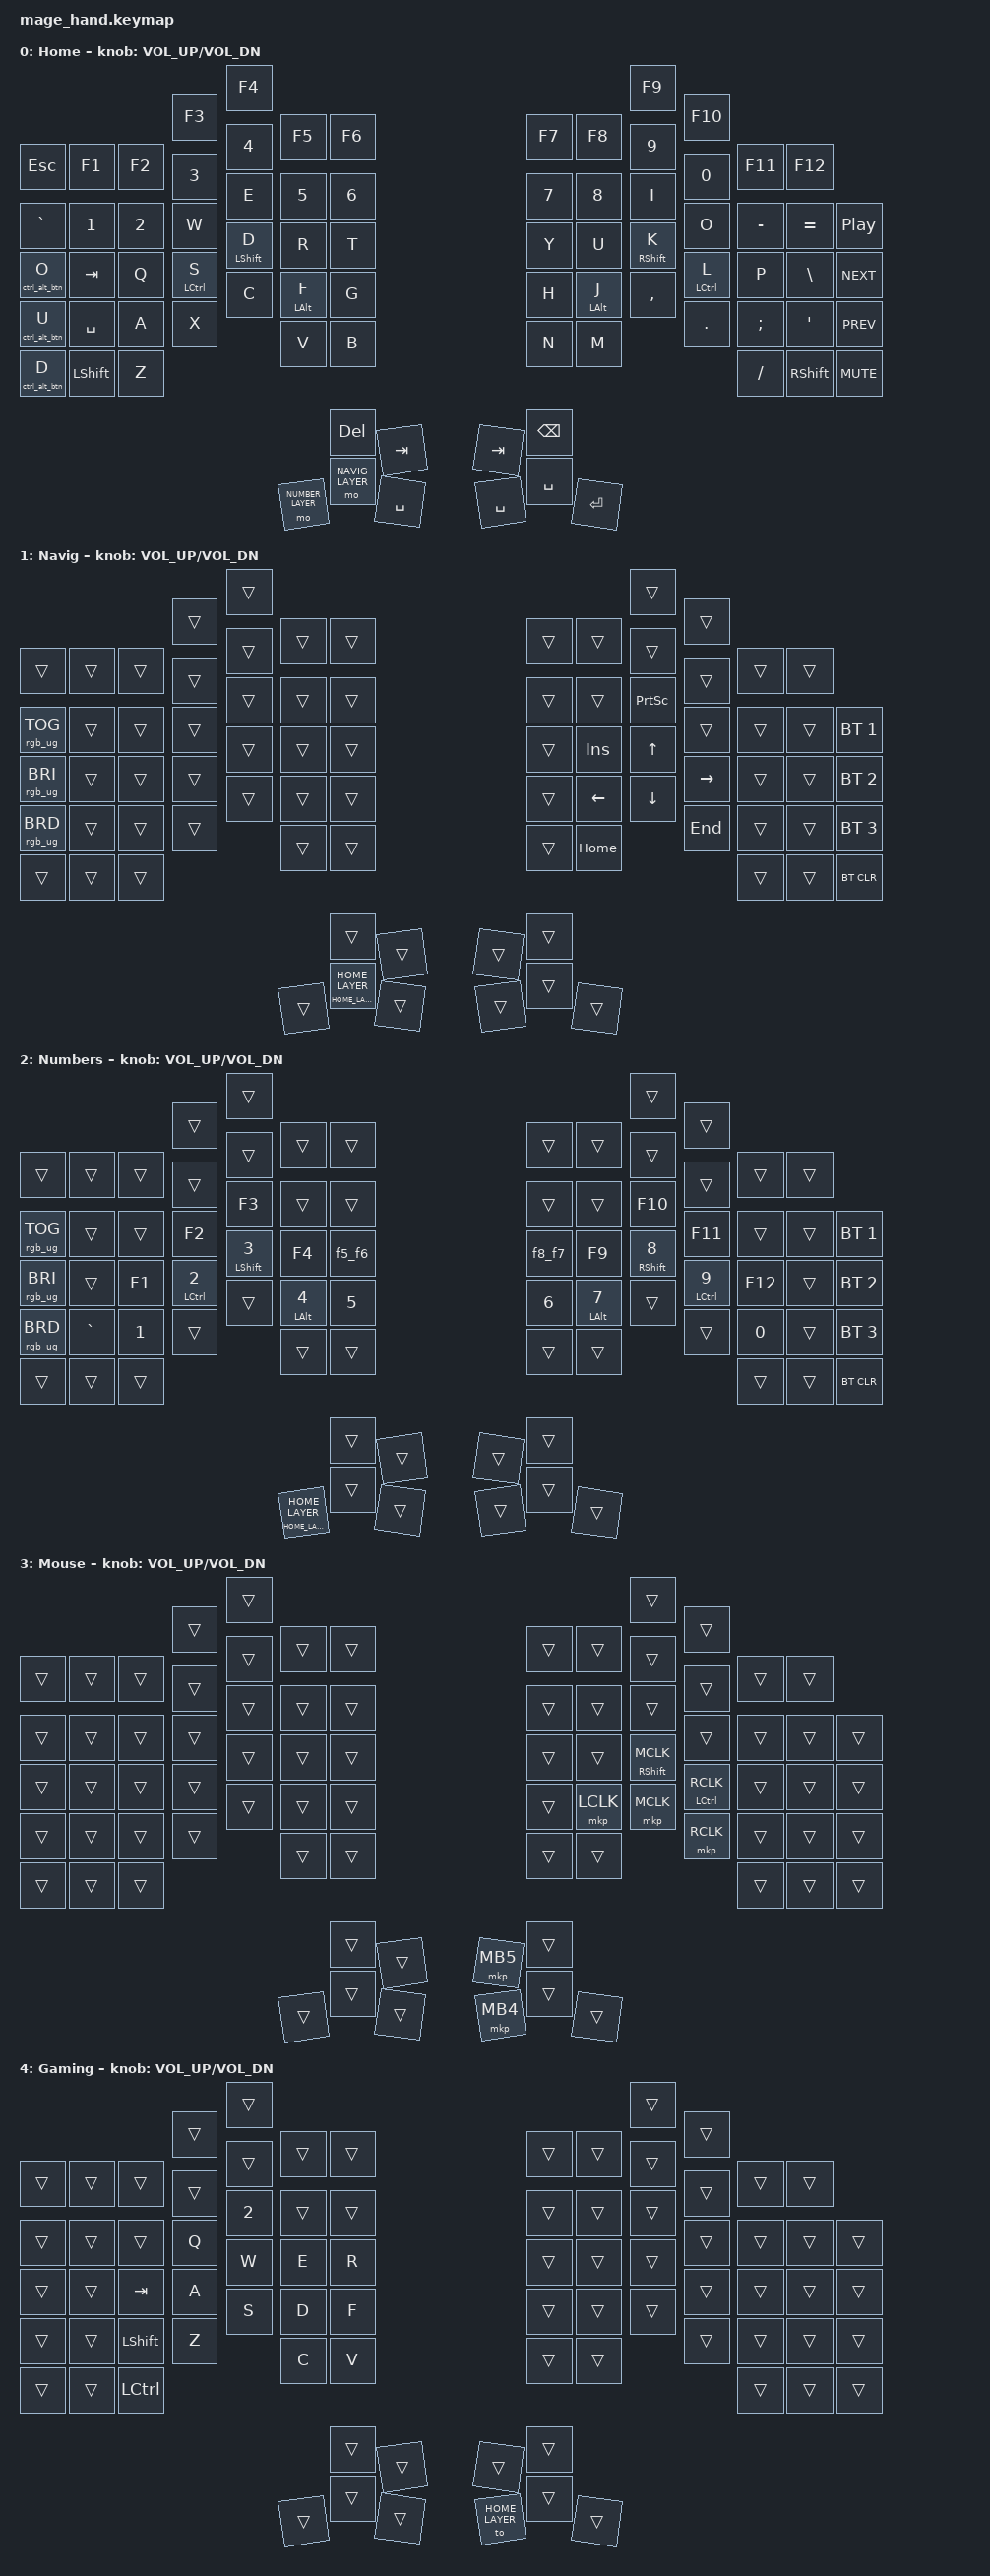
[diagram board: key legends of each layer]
/*
 * Copyright (c) 2023 The ZMK Contributors
 * SPDX-License-Identifier: MIT
 */

#include <behaviors.dtsi>
#include <dt-bindings/zmk/outputs.h>
#include <dt-bindings/zmk/keys.h>
#include <dt-bindings/zmk/bt.h>
#include <dt-bindings/zmk/rgb.h>
#include <dt-bindings/zmk/pointing.h>
#include <zmk-helpers/helper.h>
#include <behaviors/num_word.dtsi>
#include "key_labels.h"

//Layer Names
#define HOME_LAYER   0
#define NAVIG_LAYER  1
#define NUMBER_LAYER 2
#define MOUSE_LAYER  3
#define GAMING_LAYER 4
#define ALL_LAYERS   0 1 2 3 4
#define HOME_N_NUMB  0 2

// Short versions
#define RGBON   &rgb_ug RGB_ON
#define RGBOFF  &rgb_ug RGB_OFF
#define RGBTOG  &rgb_ug RGB_TOG
#define RGBHUI  &rgb_ug RGB_HUI  
#define RGBHUD  &rgb_ug RGB_HUD
#define RGBSAI  &rgb_ug RGB_SAI
#define RGBSAD  &rgb_ug RGB_SAD
#define RGBBRI  &rgb_ug RGB_BRI
#define RGBBRD  &rgb_ug RGB_BRD
#define RGBEFF  &rgb_ug RGB_EFF

#define _PLAY_ &kp C_PLAY_PAUSE
#define _PAUSE_ &kp PAUSE_BREAK
#define _MULT_ &kp KP_MULTIPLY
#define _DIV_ &kp KP_SLASH

#define BT_PROF &bt BT_SEL

#define SET_HOME_RGB &rgb_ug RGB_COLOR_HSB(220,  46, 120)
#define SET_NAV_RGB  &rgb_ug RGB_COLOR_HSB(151, 255,  44)
#define SET_NUM_RGB  &rgb_ug RGB_COLOR_HSB(255, 185,  44)
#define SET_MOUS_RGB &rgb_ug RGB_COLOR_HSB( 44, 215, 255)

#define TO_HOME  &to_home

#define NA_2_HOM &mo_to_home_from_nav   0 0
#define NU_2_HOM &mo_to_home_from_num   0 0
#define MO_2_HOM &mo_to_home_from_mouse 0 0

#define HO_2_MOU &mo_to_mouse          0 0
#define NA_2_MOU &mo_to_mouse_from_nav 0 0
#define NU_2_MOU &mo_to_mouse_from_num 0 0

#define HO_2_NAV &mo_to_nav            0 0
#define NU_2_NAV &mo_to_nav_from_num   0 0
#define MO_2_NAV &mo_to_nav_from_mouse 0 0

#define HO_2_NUM &mo_to_num            0 0
#define NA_2_NUM &mo_to_num_from_nav   0 0
#define MO_2_NUM &mo_to_num_from_mouse 0 0

#define B_LIT_TOG &ctrl_alt_btn O
#define B_LIT_UP  &ctrl_alt_btn U
#define B_LIT_DN  &ctrl_alt_btn D

#define MT_HOME  &mo_tog HOME_LAYER   HOME_LAYER
#define T_HOME   &to     HOME_LAYER
#define MT_NAV   &mo     NAVIG_LAYER
#define MT_NUMB  &mo     NUMBER_LAYER
#define T_GAME   &to     GAMING_LAYER
#define MT_MOUSE &mo_tog MOUSE_LAYER  MOUSE_LAYER

#define NUMB_WRD &numWrd_tog NUMBER_LAYER NUMBER_LAYER

&num_word {
  continue-list = <BSPC DEL DOT COMMA PLUS MINUS STAR FSLH EQUAL SPACE LPAR RPAR>;
};

//========================================================================================//
// HOMEROW MODS                                                                           //
// Based on: https://github.com/urob/zmk-config?tab=readme-ov-file#timeless-homerow-modsj //
//========================================================================================//

/*                KEY POSITIONS
  ╭──────────────────────╮ ╭──────────────────────╮
  │  0  1  2  3  4  5  6 │ │  7  8  9 10 11 12 EC │
  │ 13 14 15 16 17 18 19 │ │ 20 21 22 23 24 25 26 │
  │ 27 28 29 30 31 32 33 │ │ 34 35 36 37 38 39 40 │
  │ 41 42 43 44 45 46 47 │ │ 48 49 50 51 52 53 54 │
  │ 55 56 57 58 59 60 61 │ │ 62 63 64 65 66 67 68 │
  ╰───────────╮    69 70 │ │ 77 78    ╭───────────╯
              │ 71 72 73 │ │ 74 75 76 │
              ╰──────────╯ ╰──────────╯ 
*/


#define QUICK_TAP_MS 100
#define TAPPING_TERM_MS 200
#define SHIFT_TAPPING_TERM_MS 140

#define KEYS_L   0  1  2  3  4  5  6  13 14 15 16 17 18 19  27 28 29 30 31 32 33  41 42 43 44 45 46 47  55 56 57 58 59 60 61  
#define KEYS_R   7  8  9 10 11 12     20 21 22 23 24 25 26  34 35 36 37 38 39 40  48 49 50 51 52 53 54  62 63 64 65 66 67 68
#define THUMBS  69 70 71 72 73        74 75 76 77 78 

#define MAKE_HRM(NAME, HOLD, TAP, TRIGGER_POS)                                 \
  ZMK_HOLD_TAP(NAME, bindings = <HOLD>, <TAP>; flavor = "balanced";            \
               tapping-term-ms = <TAPPING_TERM_MS>; quick-tap-ms = <QUICK_TAP_MS>;         \
               require-prior-idle-ms = <150>; hold-trigger-on-release;         \
               hold-trigger-key-positions = <TRIGGER_POS>;)
               
#define MAKE_HRM_SFT(NAME, HOLD, TAP, TRIGGER_POS)                             \
  ZMK_HOLD_TAP(NAME, bindings = <HOLD>, <TAP>; flavor = "balanced";            \
               tapping-term-ms = <SHIFT_TAPPING_TERM_MS>; quick-tap-ms = <QUICK_TAP_MS>;         \
               hold-trigger-on-release;         \
               hold-trigger-key-positions = <TRIGGER_POS>;)

MAKE_HRM    (hml,   &kp, &kp,  KEYS_R THUMBS) // Left-hand HRMs.
MAKE_HRM_SFT(hml_s, &kp, &kp,  KEYS_R THUMBS) // Left-hand HRMs.
MAKE_HRM    (hmr,   &kp, &kp,  KEYS_L THUMBS) // Right-hand HRMs.
MAKE_HRM_SFT(hmr_s, &kp, &kp,  KEYS_L THUMBS) // Right-hand HRMs.
MAKE_HRM    (hmr_m, &kp, &mkp, KEYS_L THUMBS) // Right-hand HRMs.

//#define META_A  &hml   LMETA A
#define CTRL_S  &hml   LCTRL S
#define SHIFT_D &hml_s LSHFT D
#define ALT_F   &hml   LALT  F

#define ALT_J   &hmr   LALT  J
#define SHIFT_K &hmr_s RSHFT K
#define CTRL_L  &hmr   LCTRL L    //using left ctrl here because right ctrl works weird in canadian multilingual
//#define META_SC &hmr   RMETA SEMI


//hrm on number layer
//#define META_1  &hml LMETA N1
#define CTRL_2  &hml LCTRL N2
#define SHIFT_3 &hml LSHFT N3
#define ALT_4   &hml LALT  N4

#define ALT_7   &hmr LALT  N7
#define SHIFT_8 &hmr RSHFT N8
#define CTRL_9  &hmr LCTRL N9    //using left ctrl here because right ctrl works weird in canadian multilingual
//#define META_0  &hmr RMETA N0


//using hrm on mouse layer to help reduce interference with shortcuts - hope it works
#define ALT_LCLK   &hmr_m LALT  LCLK //not used cause left click behavior is too complex
#define SHIFT_MCLK &hmr_m RSHFT MCLK //
#define CTRL_RCLK  &hmr_m LCTRL RCLK //using left ctrl here because right ctrl works weird in canadian multilingual


//using hrm on navig lager

#include "combos.dtsi"



/ {
    ctrl_alt_btn: ctrl_alt_btn {
        compatible = "zmk,behavior-macro-one-param";
        #binding-cells = <1>;
        bindings = <&macro_press &kp LCTRL &kp LALT>
                 , <&macro_param_1to1>
                 , <&macro_tap &kp 1>
                 , <&macro_release &kp LCTRL &kp LALT>;
    };
    
    mo_mouse: mo_mouse {
        compatible = "zmk,behavior-macro";
        #binding-cells = <0>;
        bindings = <&macro_press &mo MOUSE_LAYER>
                 , <&macro_tap SET_MOUS_RGB>
                 , <&macro_pause_for_release>
                 , <&macro_release &mo MOUSE_LAYER>
                 , <&macro_tap SET_HOME_RGB>;
    };

    mo_mouse_from_nav: mo_mouse_from_nav {
        compatible = "zmk,behavior-macro";
        #binding-cells = <0>;
        bindings = <&macro_press &mo MOUSE_LAYER>
                 , <&macro_tap SET_MOUS_RGB>
                 , <&macro_pause_for_release>
                 , <&macro_release &mo MOUSE_LAYER>
                 , <&macro_tap SET_NAV_RGB>;
    };

    mo_mouse_from_num: mo_mouse_from_num {
        compatible = "zmk,behavior-macro";
        #binding-cells = <0>;
        bindings = <&macro_press &mo MOUSE_LAYER>
                 , <&macro_tap SET_MOUS_RGB>
                 , <&macro_pause_for_release>
                 , <&macro_release &mo MOUSE_LAYER>
                 , <&macro_tap SET_NUM_RGB>;
    };

    
    mo_nav: mo_nav {
        compatible = "zmk,behavior-macro";
        #binding-cells = <0>;
        bindings = <&macro_press &mo NAVIG_LAYER>
                 , <&macro_tap SET_NAV_RGB>
                 , <&macro_pause_for_release>
                 , <&macro_release &mo NAVIG_LAYER>
                 , <&macro_tap SET_HOME_RGB>;
    };
    
    mo_nav_from_num: mo_nav_from_num {
        compatible = "zmk,behavior-macro";
        #binding-cells = <0>;
        bindings = <&macro_press &mo NAVIG_LAYER>
                 , <&macro_tap SET_NAV_RGB>
                 , <&macro_pause_for_release>
                 , <&macro_release &mo NAVIG_LAYER>
                 , <&macro_tap SET_NUM_RGB>;
    };
    
    mo_nav_from_mouse: mo_nav_from_mouse {
        compatible = "zmk,behavior-macro";
        #binding-cells = <0>;
        bindings = <&macro_press &mo NAVIG_LAYER>
                 , <&macro_tap SET_NAV_RGB>
                 , <&macro_pause_for_release>
                 , <&macro_release &mo NAVIG_LAYER>
                 , <&macro_tap SET_MOUS_RGB>;
    };
    

    mo_num: mo_num {
        compatible = "zmk,behavior-macro";
        #binding-cells = <0>;
        bindings = <&macro_press &mo NUMBER_LAYER>
                 , <&macro_tap SET_NUM_RGB>
                 , <&macro_pause_for_release>
                 , <&macro_release &mo NUMBER_LAYER>
                 , <&macro_tap SET_HOME_RGB>;
    };

    mo_num_from_nav: mo_num_from_nav {
        compatible = "zmk,behavior-macro";
        #binding-cells = <0>;
        bindings = <&macro_press &mo NUMBER_LAYER>
                 , <&macro_tap SET_NUM_RGB>
                 , <&macro_pause_for_release>
                 , <&macro_release &mo NUMBER_LAYER>
                 , <&macro_tap SET_NAV_RGB>;
    };

    mo_num_from_mouse: mo_num_from_mouse {
        compatible = "zmk,behavior-macro";
        #binding-cells = <0>;
        bindings = <&macro_press &mo NUMBER_LAYER>
                 , <&macro_tap SET_NUM_RGB>
                 , <&macro_pause_for_release>
                 , <&macro_release &mo NUMBER_LAYER>
                 , <&macro_tap SET_MOUS_RGB>;
    };
    
    
    mo_hom_from_nav: mo_hom_from_nav {
        compatible = "zmk,behavior-macro";
        #binding-cells = <0>;
        bindings = <&macro_press &mo HOME_LAYER>
                 , <&macro_tap SET_HOME_RGB>
                 , <&macro_pause_for_release>
                 , <&macro_release &mo HOME_LAYER>
                 , <&macro_tap SET_NAV_RGB>;
    };
    
    mo_hom_from_num: mo_hom_from_num {
        compatible = "zmk,behavior-macro";
        #binding-cells = <0>;
        bindings = <&macro_press &mo HOME_LAYER>
                 , <&macro_tap SET_HOME_RGB>
                 , <&macro_pause_for_release>
                 , <&macro_release &mo HOME_LAYER>
                 , <&macro_tap SET_NUM_RGB>;
    };
    
    mo_hom_from_mouse: mo_hom_from_mouse {
        compatible = "zmk,behavior-macro";
        #binding-cells = <0>;
        bindings = <&macro_press &mo HOME_LAYER>
                 , <&macro_tap SET_HOME_RGB>
                 , <&macro_pause_for_release>
                 , <&macro_release &mo HOME_LAYER>
                 , <&macro_tap SET_MOUS_RGB>;
    };

    
    to_mouse: to_mouse {
        compatible = "zmk,behavior-macro";
        #binding-cells = <0>;
        bindings = <&macro_press &to MOUSE_LAYER>
                 , <&macro_tap SET_MOUS_RGB>
                 , <&macro_pause_for_release>
                 , <&macro_release &to MOUSE_LAYER>;
    };

    to_nav: to_nav {
        compatible = "zmk,behavior-macro";
        #binding-cells = <0>;
        bindings = <&macro_press &to NAVIG_LAYER>
                 , <&macro_tap SET_NAV_RGB>
                 , <&macro_pause_for_release>
                 , <&macro_release &to NAVIG_LAYER>;
    };
    
    to_num: to_num {
        compatible = "zmk,behavior-macro";
        #binding-cells = <0>;
        bindings = <&macro_press &to NUMBER_LAYER>
                 , <&macro_tap SET_NUM_RGB>
                 , <&macro_pause_for_release>
                 , <&macro_release &to NUMBER_LAYER>;
    };
    
    to_home: to_home {
        compatible = "zmk,behavior-macro";
        #binding-cells = <0>;
        bindings = <&macro_press &mo HOME_LAYER>
                 , <&macro_tap SET_HOME_RGB>
                 , <&macro_pause_for_release>
                 , <&macro_release &mo HOME_LAYER>;
    };
};


/ {
    behaviors {
        rot_mouse_scroll: sensor_rotate_kp {
            compatible = "zmk,behavior-sensor-rotate-var";
            #sensor-binding-cells = <2>;
            bindings = <&msc>, <&msc>;
        };

        mo_tog: behavior_mo_to {
            compatible = "zmk,behavior-hold-tap";
            #binding-cells = <2>;
            flavor = "hold-preferred";
            tapping-term-ms = <200>;
            bindings = <&mo>, <&to>;
        };

        numWrd_tog: behavior_numWrd_tog {
            compatible = "zmk,behavior-hold-tap";
            #binding-cells = <2>;
            flavor = "hold-preferred";
            tapping-term-ms = <200>;
            bindings = <&num_word>, <&to>;
        };
                
        mo_to_home_from_nav: mo_to_home_from_nav {
            compatible = "zmk,behavior-hold-tap";
            #binding-cells = <2>;
            flavor = "hold-preferred";
            tapping-term-ms = <200>;
            bindings = <&mo_hom_from_nav>, <&to_home>;
        };
                        
        mo_to_home_from_num: mo_to_home_from_num {
            compatible = "zmk,behavior-hold-tap";
            #binding-cells = <2>;
            flavor = "hold-preferred";
            tapping-term-ms = <200>;
            bindings = <&mo_hom_from_num>, <&to_home>;
        };
                        
        mo_to_home_from_mouse: mo_to_home_from_mouse {
            compatible = "zmk,behavior-hold-tap";
            #binding-cells = <2>;
            flavor = "hold-preferred";
            tapping-term-ms = <200>;
            bindings = <&mo_hom_from_mouse>, <&to_home>;
        };

                
        mo_to_nav: mo_to_nav {
            compatible = "zmk,behavior-hold-tap";
            #binding-cells = <2>;
            flavor = "hold-preferred";
            tapping-term-ms = <200>;
            bindings = <&mo_nav>, <&to_nav>;
        };
                
        mo_to_nav_from_num: mo_to_nav_from_num {
            compatible = "zmk,behavior-hold-tap";
            #binding-cells = <2>;
            flavor = "hold-preferred";
            tapping-term-ms = <200>;
            bindings = <&mo_nav_from_num>, <&to_nav>;
        };
                
        mo_to_nav_from_mouse: mo_to_nav_from_mouse {
            compatible = "zmk,behavior-hold-tap";
            #binding-cells = <2>;
            flavor = "hold-preferred";
            tapping-term-ms = <200>;
            bindings = <&mo_nav_from_mouse>, <&to_nav>;
        };


        mo_to_num: mo_to_num {
            compatible = "zmk,behavior-hold-tap";
            #binding-cells = <2>;
            flavor = "hold-preferred";
            tapping-term-ms = <200>;
            bindings = <&mo_num>, <&to_num>;
        };
                
        mo_to_num_from_nav: mo_to_num_from_nav {
            compatible = "zmk,behavior-hold-tap";
            #binding-cells = <2>;
            flavor = "hold-preferred";
            tapping-term-ms = <200>;
            bindings = <&mo_num_from_nav>, <&to_num>;
        };
                
        mo_to_num_from_mouse: mo_to_num_from_mouse {
            compatible = "zmk,behavior-hold-tap";
            #binding-cells = <2>;
            flavor = "hold-preferred";
            tapping-term-ms = <200>;
            bindings = <&mo_num_from_nav>, <&to_num>;
        };

                
        mo_to_mouse: mo_to_mouse {
            compatible = "zmk,behavior-hold-tap";
            #binding-cells = <2>;
            flavor = "hold-preferred";
            tapping-term-ms = <200>;
            bindings = <&mo_mouse>, <&to_mouse>;
        };
                
        mo_to_mouse_from_nav: mo_to_mouse_from_nav {
            compatible = "zmk,behavior-hold-tap";
            #binding-cells = <2>;
            flavor = "hold-preferred";
            tapping-term-ms = <200>;
            bindings = <&mo_mouse_from_nav>, <&to_mouse>;
        };
                
        mo_to_mouse_from_num: mo_to_mouse_from_num {
            compatible = "zmk,behavior-hold-tap";
            #binding-cells = <2>;
            flavor = "hold-preferred";
            tapping-term-ms = <200>;
            bindings = <&mo_mouse_from_num>, <&to_mouse>;
        };
    };
};

&mkp_input_listener {
	input-processors = <&zip_temp_layer 3 250>;
};


&mt {
    flavor = "balanced";
};


/ {
    keymap {
        compatible = "zmk,keymap";

        default_layer {
            display-name = " Home";
            sensor-bindings =                                                                                                                             <&inc_dec_kp C_VOL_UP C_VOL_DN>;
            bindings = <
//           ┏━━━━━━━━━━━┳━━━━━━━━━━━┳━━━━━━━━━━━┳━━━━━━━━━━━┳━━━━━━━━━━━┳━━━━━━━━━━━┳━━━━━━━━━━━┓   ┏━━━━━━━━━━━┳━━━━━━━━━━━┳━━━━━━━━━━━┳━━━━━━━━━━━┳━━━━━━━━━━━┳━━━━━━━━━━━┳━━━━━━━━━━━┓ 
//           ┃    ESC    ┃     F1    ┃     F2    ┃     F3    ┃     F4    ┃     F5    ┃     F6    ┃   ┃     F7    ┃     F8    ┃     F9    ┃    F10    ┃    F11    ┃    F12    ┃   VOLUME  ┃
                &kp ESC      &kp F1      &kp F2      &kp F3      &kp F4      &kp F5      &kp F6          &kp F7      &kp F8      &kp F9     &kp F10     &kp F11     &kp F12    //ENCODER
//           ┣━━━━━━━━━━━╋━━━━━━━━━━━╋━━━━━━━━━━━╋━━━━━━━━━━━╋━━━━━━━━━━━╋━━━━━━━━━━━╋━━━━━━━━━━━┫   ┣━━━━━━━━━━━╋━━━━━━━━━━━╋━━━━━━━━━━━╋━━━━━━━━━━━╋━━━━━━━━━━━╋━━━━━━━━━━━╋━━━━━━━━━━━┫
//           ┃    ` ~    ┃     1     ┃     2     ┃     3     ┃     4     ┃     5     ┃     6     ┃   ┃     7     ┃     8     ┃     9     ┃     0     ┃     -     ┃     =     ┃Play/Pause ┃
               &kp GRAVE    &kp N1      &kp N2      &kp N3      &kp N4      &kp N5      &kp N6          &kp N7      &kp N8      &kp N9      &kp N0     &kp MINUS   &kp EQUAL    _PLAY_
//           ┣━━━━━━━━━━━╋━━━━━━━━━━━╋━━━━━━━━━━━╋━━━━━━━━━━━╋━━━━━━━━━━━╋━━━━━━━━━━━╋━━━━━━━━━━━┫   ┣━━━━━━━━━━━╋━━━━━━━━━━━╋━━━━━━━━━━━╋━━━━━━━━━━━╋━━━━━━━━━━━╋━━━━━━━━━━━╋━━━━━━━━━━━┫
//           ┃     G1    ┃    TAB    ┃     Q     ┃     W     ┃     E     ┃     R     ┃     T     ┃   ┃     Y     ┃     U     ┃     I     ┃     O     ┃     P     ┃     \     ┃   NEXT    ┃
               B_LIT_TOG   &kp TAB       &kp Q      &kp W        &kp E      &kp R        &kp T           &kp Y       &kp U       &kp I       &kp O       &kp P     &kp BSLH   &kp  C_NEXT
//           ┣━━━━━━━━━━━╋━━━━━━━━━━━╋━━━━━━━━━━━╋━━━━━━━━━━━╋━━━━━━━━━━━╋━━━━━━━━━━━╋━━━━━━━━━━━┫   ┣━━━━━━━━━━━╋━━━━━━━━━━━╋━━━━━━━━━━━╋━━━━━━━━━━━╋━━━━━━━━━━━╋━━━━━━━━━━━╋━━━━━━━━━━━┫
//           ┃     G2    ┃   SPACE   ┃     A     ┃  CTRL_S   ┃  SHIFT_D  ┃   ALT_F   ┃     G     ┃   ┃     H     ┃   ALT_J   ┃  SHIFT_K  ┃  CTRL_L   ┃    SEMI   ┃     '     ┃   PREV    ┃
               B_LIT_UP    &kp SPACE     &kp A      CTRL_S      SHIFT_D      ALT_F       &kp G           &kp H       ALT_J      SHIFT_K     CTRL_L      &kp SEMI    &kp SQT   &kp  C_PREV
//           ┣━━━━━━━━━━━╋━━━━━━━━━━━╋━━━━━━━━━━━╋━━━━━━━━━━━╋━━━━━━━━━━━╋━━━━━━━━━━━╋━━━━━━━━━━━┫   ┣━━━━━━━━━━━╋━━━━━━━━━━━╋━━━━━━━━━━━╋━━━━━━━━━━━╋━━━━━━━━━━━╋━━━━━━━━━━━╋━━━━━━━━━━━┫
//           ┃     G3    ┃   SHIFT   ┃     Z     ┃     X     ┃     C     ┃     V     ┃     B     ┃   ┃     N     ┃     M     ┃     ,     ┃     .     ┃     /     ┃   SHIFT   ┃   MUTE    ┃
               B_LIT_DN    &kp LSHFT     &kp Z       &kp X       &kp C       &kp V       &kp B           &kp N       &kp M     &kp COMMA    &kp DOT    &kp FSLH    &kp RSHFT   &kp C_MUTE
//           ┗━━━━━━━━━━━┻━━━━━━━━━━━╋━━━━━━━━━━━╋━━━━━━━━━━━╋━━━━━━━━━━━╋━━━━━━━━━━━╋━━━━━━━━━━━┫   ┣━━━━━━━━━━━╋━━━━━━━━━━━╋━━━━━━━━━━━╋━━━━━━━━━━━╋━━━━━━━━━━━╋━━━━━━━━━━━┻━━━━━━━━━━━┛
//                                   ┃  DELETE   ┃    TAB    ┃  NUMBER   ┃   NAVIG   ┃   SPACE   ┃   ┃   SPACE   ┃   SPACE   ┃   ENTER   ┃    TAB    ┃ BACKSPACE ┃
                                        &kp DEL     &kp TAB     MT_NUMB      MT_NAV    &kp SPACE       &kp SPACE   &kp SPACE    &kp RET     &kp TAB    &kp BSPC   
//                                   ┗━━━━━━━━━━━┻━━━━━━━━━━━┻━━━━━━━━━━━┻━━━━━━━━━━━┻━━━━━━━━━━━┛   ┗━━━━━━━━━━━┻━━━━━━━━━━━┻━━━━━━━━━━━┻━━━━━━━━━━━┻━━━━━━━━━━━┛
            >;
        };

        navig_layer {
            display-name = " Navig";
            sensor-bindings =                                                                                                                             <&inc_dec_kp C_VOL_UP C_VOL_DN>;
            bindings = <
//           ┏━━━━━━━━━━━┳━━━━━━━━━━━┳━━━━━━━━━━━┳━━━━━━━━━━━┳━━━━━━━━━━━┳━━━━━━━━━━━┳━━━━━━━━━━━┓   ┏━━━━━━━━━━━┳━━━━━━━━━━━┳━━━━━━━━━━━┳━━━━━━━━━━━┳━━━━━━━━━━━┳━━━━━━━━━━━┳━━━━━━━━━━━┓ 
//           ┃           ┃           ┃           ┃           ┃           ┃           ┃           ┃   ┃           ┃           ┃           ┃           ┃           ┃           ┃  UP/DOWN  ┃
                 &trans      &trans      &trans      &trans      &trans      &trans      &trans          &trans      &trans      &trans      &trans      &trans      &trans    //ENCODER
//           ┣━━━━━━━━━━━╋━━━━━━━━━━━╋━━━━━━━━━━━╋━━━━━━━━━━━╋━━━━━━━━━━━╋━━━━━━━━━━━╋━━━━━━━━━━━┫   ┣━━━━━━━━━━━╋━━━━━━━━━━━╋━━━━━━━━━━━╋━━━━━━━━━━━╋━━━━━━━━━━━╋━━━━━━━━━━━╋━━━━━━━━━━━┫
//           ┃           ┃           ┃           ┃           ┃           ┃           ┃           ┃   ┃           ┃           ┃           ┃           ┃           ┃           ┃    BT 1   ┃
                 RGBTOG      &trans      &trans      &trans      &trans      &trans      &trans          &trans      &trans      &trans      &trans      &trans      &trans    BT_PROF 1 
//           ┣━━━━━━━━━━━╋━━━━━━━━━━━╋━━━━━━━━━━━╋━━━━━━━━━━━╋━━━━━━━━━━━╋━━━━━━━━━━━╋━━━━━━━━━━━┫   ┣━━━━━━━━━━━╋━━━━━━━━━━━╋━━━━━━━━━━━╋━━━━━━━━━━━╋━━━━━━━━━━━╋━━━━━━━━━━━╋━━━━━━━━━━━┫
//           ┃           ┃           ┃           ┃           ┃           ┃           ┃           ┃   ┃           ┃  INSERT   ┃PRINT SCRN ┃           ┃           ┃           ┃    BT 2   ┃
                 RGBBRI      &trans      &trans      &trans      &trans      &trans      &trans          &trans     &kp INS    &kp PSCRN     &trans      &trans      &trans    BT_PROF 2 
//           ┣━━━━━━━━━━━╋━━━━━━━━━━━╋━━━━━━━━━━━╋━━━━━━━━━━━╋━━━━━━━━━━━╋━━━━━━━━━━━╋━━━━━━━━━━━┫   ┣━━━━━━━━━━━╋━━━━━━━━━━━╋━━━━━━━━━━━╋━━━━━━━━━━━╋━━━━━━━━━━━╋━━━━━━━━━━━╋━━━━━━━━━━━┫
//           ┃           ┃           ┃           ┃           ┃           ┃           ┃           ┃   ┃           ┃ LEFT  ARW ┃  UP  ARW  ┃ RIGHT ARW ┃           ┃           ┃    BT 3   ┃
                 RGBBRD      &trans      &trans      &trans      &trans      &trans      &trans          &trans    &kp LEFT     &kp UP     &kp RIGHT     &trans      &trans    BT_PROF 3 
//           ┣━━━━━━━━━━━╋━━━━━━━━━━━╋━━━━━━━━━━━╋━━━━━━━━━━━╋━━━━━━━━━━━╋━━━━━━━━━━━╋━━━━━━━━━━━┫   ┣━━━━━━━━━━━╋━━━━━━━━━━━╋━━━━━━━━━━━╋━━━━━━━━━━━╋━━━━━━━━━━━╋━━━━━━━━━━━╋━━━━━━━━━━━┫
//           ┃           ┃           ┃           ┃           ┃           ┃           ┃           ┃   ┃           ┃   HOME    ┃ DOWN  ARW ┃    END    ┃           ┃           ┃ BT CLEAR  ┃
                 &trans      &trans      &trans      &trans      &trans      &trans      &trans          &trans    &kp HOME    &kp DOWN     &kp END      &trans      &trans   &bt BT_CLR
//           ┗━━━━━━━━━━━┻━━━━━━━━━━━╋━━━━━━━━━━━╋━━━━━━━━━━━╋━━━━━━━━━━━╋━━━━━━━━━━━╋━━━━━━━━━━━┫   ┣━━━━━━━━━━━╋━━━━━━━━━━━╋━━━━━━━━━━━╋━━━━━━━━━━━╋━━━━━━━━━━━╋━━━━━━━━━━━┻━━━━━━━━━━━┛
//                                   ┃           ┃           ┃           ┃   HOME    ┃           ┃   ┃           ┃           ┃           ┃           ┃           ┃
                                         &trans      &trans      &trans     MT_HOME      &trans          &trans      &trans      &trans      &trans      &trans
//                                   ┗━━━━━━━━━━━┻━━━━━━━━━━━┻━━━━━━━━━━━┻━━━━━━━━━━━┻━━━━━━━━━━━┛   ┗━━━━━━━━━━━┻━━━━━━━━━━━┻━━━━━━━━━━━┻━━━━━━━━━━━┻━━━━━━━━━━━┛
            >;
        };

        number_layer {
            display-name = "Numbers";
            sensor-bindings =                                                                                                                             <&inc_dec_kp C_VOL_UP C_VOL_DN>;
            bindings = <
//           ┏━━━━━━━━━━━┳━━━━━━━━━━━┳━━━━━━━━━━━┳━━━━━━━━━━━┳━━━━━━━━━━━┳━━━━━━━━━━━┳━━━━━━━━━━━┓   ┏━━━━━━━━━━━┳━━━━━━━━━━━┳━━━━━━━━━━━┳━━━━━━━━━━━┳━━━━━━━━━━━┳━━━━━━━━━━━┳━━━━━━━━━━━┓ 
//           ┃           ┃           ┃           ┃           ┃           ┃           ┃           ┃   ┃           ┃           ┃           ┃           ┃           ┃           ┃   VOLUME  ┃
                 &trans      &trans      &trans      &trans      &trans      &trans      &trans          &trans      &trans      &trans      &trans      &trans      &trans    //ENCODER
//           ┣━━━━━━━━━━━╋━━━━━━━━━━━╋━━━━━━━━━━━╋━━━━━━━━━━━╋━━━━━━━━━━━╋━━━━━━━━━━━╋━━━━━━━━━━━┫   ┣━━━━━━━━━━━╋━━━━━━━━━━━╋━━━━━━━━━━━╋━━━━━━━━━━━╋━━━━━━━━━━━╋━━━━━━━━━━━╋━━━━━━━━━━━┫
//           ┃           ┃           ┃           ┃           ┃           ┃           ┃           ┃   ┃           ┃           ┃           ┃           ┃           ┃           ┃    BT 1   ┃
                 RGBTOG      &trans      &trans      &trans      &trans      &trans      &trans          &trans      &trans      &trans      &trans      &trans      &trans    BT_PROF 1 
//           ┣━━━━━━━━━━━╋━━━━━━━━━━━╋━━━━━━━━━━━╋━━━━━━━━━━━╋━━━━━━━━━━━╋━━━━━━━━━━━╋━━━━━━━━━━━┫   ┣━━━━━━━━━━━╋━━━━━━━━━━━╋━━━━━━━━━━━╋━━━━━━━━━━━╋━━━━━━━━━━━╋━━━━━━━━━━━╋━━━━━━━━━━━┫
//           ┃           ┃           ┃     F1    ┃     F2    ┃     F3    ┃     F4    ┃  F5/F6    ┃   ┃   F8/F7   ┃     F9    ┃    F10    ┃    F11    ┃    F12    ┃           ┃    BT 2   ┃
                 RGBBRI      &trans      &kp F1      &kp F2      &kp F3      &kp F4     &f5_f6           &f8_f7      &kp F9     &kp F10     &kp F11     &kp F12      &trans    BT_PROF 2 
//           ┣━━━━━━━━━━━╋━━━━━━━━━━━╋━━━━━━━━━━━╋━━━━━━━━━━━╋━━━━━━━━━━━╋━━━━━━━━━━━╋━━━━━━━━━━━┫   ┣━━━━━━━━━━━╋━━━━━━━━━━━╋━━━━━━━━━━━╋━━━━━━━━━━━╋━━━━━━━━━━━╋━━━━━━━━━━━╋━━━━━━━━━━━┫
//           ┃           ┃    ` ~    ┃     1     ┃  CTRL_2   ┃  SHIFT_3  ┃   ALT_4   ┃     5     ┃   ┃     6     ┃   ALT_7   ┃  SHIFT_8  ┃   CTRL_9  ┃     0     ┃           ┃    BT 3   ┃
                 RGBBRD    &kp GRAVE     &kp N1     CTRL_2      SHIFT_3      ALT_4      &kp N5          &kp N6       ALT_7      SHIFT_8      CTRL_9      &kp N0      &trans    BT_PROF 3  
//           ┣━━━━━━━━━━━╋━━━━━━━━━━━╋━━━━━━━━━━━╋━━━━━━━━━━━╋━━━━━━━━━━━╋━━━━━━━━━━━╋━━━━━━━━━━━┫   ┣━━━━━━━━━━━╋━━━━━━━━━━━╋━━━━━━━━━━━╋━━━━━━━━━━━╋━━━━━━━━━━━╋━━━━━━━━━━━╋━━━━━━━━━━━┫
//           ┃           ┃           ┃           ┃           ┃           ┃           ┃           ┃   ┃           ┃           ┃           ┃           ┃           ┃           ┃ BT CLEAR  ┃
                 &trans      &trans      &trans      &trans      &trans      &trans      &trans          &trans      &trans      &trans      &trans      &trans      &trans   &bt BT_CLR 
//           ┗━━━━━━━━━━━┻━━━━━━━━━━━╋━━━━━━━━━━━╋━━━━━━━━━━━╋━━━━━━━━━━━╋━━━━━━━━━━━╋━━━━━━━━━━━┫   ┣━━━━━━━━━━━╋━━━━━━━━━━━╋━━━━━━━━━━━╋━━━━━━━━━━━╋━━━━━━━━━━━╋━━━━━━━━━━━┻━━━━━━━━━━━┛
//                                   ┃           ┃           ┃   HOME    ┃           ┃           ┃   ┃           ┃           ┃           ┃           ┃           ┃
                                         &trans      &trans     MT_HOME      &trans      &trans          &trans      &trans      &trans      &trans      &trans
//                                   ┗━━━━━━━━━━━┻━━━━━━━━━━━┻━━━━━━━━━━━┻━━━━━━━━━━━┻━━━━━━━━━━━┛   ┗━━━━━━━━━━━┻━━━━━━━━━━━┻━━━━━━━━━━━┻━━━━━━━━━━━┻━━━━━━━━━━━┛
            >;
        };

        mouse_layer {
            display-name = " Mouse";
            sensor-bindings =                                                                                                                             <&inc_dec_kp C_VOL_UP C_VOL_DN>;
            bindings = <
//           ┏━━━━━━━━━━━┳━━━━━━━━━━━┳━━━━━━━━━━━┳━━━━━━━━━━━┳━━━━━━━━━━━┳━━━━━━━━━━━┳━━━━━━━━━━━┓   ┏━━━━━━━━━━━┳━━━━━━━━━━━┳━━━━━━━━━━━┳━━━━━━━━━━━┳━━━━━━━━━━━┳━━━━━━━━━━━┳━━━━━━━━━━━┓ 
//           ┃           ┃           ┃           ┃           ┃           ┃           ┃           ┃   ┃           ┃           ┃           ┃           ┃           ┃           ┃    MOUSE  ┃
                 &trans      &trans      &trans      &trans      &trans      &trans      &trans          &trans      &trans      &trans      &trans      &trans      &trans     //SCROLL
//           ┣━━━━━━━━━━━╋━━━━━━━━━━━╋━━━━━━━━━━━╋━━━━━━━━━━━╋━━━━━━━━━━━╋━━━━━━━━━━━╋━━━━━━━━━━━┫   ┣━━━━━━━━━━━╋━━━━━━━━━━━╋━━━━━━━━━━━╋━━━━━━━━━━━╋━━━━━━━━━━━╋━━━━━━━━━━━╋━━━━━━━━━━━┫
//           ┃           ┃           ┃           ┃           ┃           ┃           ┃           ┃   ┃           ┃           ┃           ┃           ┃           ┃           ┃           ┃
                 &trans      &trans      &trans      &trans      &trans      &trans      &trans          &trans      &trans      &trans      &trans      &trans      &trans      &trans  
//           ┣━━━━━━━━━━━╋━━━━━━━━━━━╋━━━━━━━━━━━╋━━━━━━━━━━━╋━━━━━━━━━━━╋━━━━━━━━━━━╋━━━━━━━━━━━┫   ┣━━━━━━━━━━━╋━━━━━━━━━━━╋━━━━━━━━━━━╋━━━━━━━━━━━╋━━━━━━━━━━━╋━━━━━━━━━━━╋━━━━━━━━━━━┫
//           ┃           ┃           ┃           ┃           ┃           ┃           ┃           ┃   ┃           ┃           ┃           ┃           ┃           ┃           ┃           ┃
                 &trans      &trans      &trans      &trans      &trans      &trans      &trans          &trans      &trans      &trans      &trans      &trans      &trans      &trans  
//           ┣━━━━━━━━━━━╋━━━━━━━━━━━╋━━━━━━━━━━━╋━━━━━━━━━━━╋━━━━━━━━━━━╋━━━━━━━━━━━╋━━━━━━━━━━━┫   ┣━━━━━━━━━━━╋━━━━━━━━━━━╋━━━━━━━━━━━╋━━━━━━━━━━━╋━━━━━━━━━━━╋━━━━━━━━━━━╋━━━━━━━━━━━┫
//           ┃           ┃           ┃           ┃           ┃           ┃           ┃           ┃   ┃           ┃ LEFT  CLK ┃ MID CLICK ┃ RIGHT CLK ┃           ┃           ┃           ┃
                 &trans      &trans      &trans      &trans      &trans      &trans      &trans          &trans    &mkp LCLK   SHIFT_MCLK   CTRL_RCLK    &trans      &trans      &trans  
//           ┣━━━━━━━━━━━╋━━━━━━━━━━━╋━━━━━━━━━━━╋━━━━━━━━━━━╋━━━━━━━━━━━╋━━━━━━━━━━━╋━━━━━━━━━━━┫   ┣━━━━━━━━━━━╋━━━━━━━━━━━╋━━━━━━━━━━━╋━━━━━━━━━━━╋━━━━━━━━━━━╋━━━━━━━━━━━╋━━━━━━━━━━━┫
//           ┃           ┃           ┃           ┃           ┃           ┃           ┃           ┃   ┃           ┃           ┃MCLK SIMPLE┃RCLK SIMPLE┃           ┃           ┃           ┃
                 &trans      &trans      &trans      &trans      &trans      &trans      &trans          &trans      &trans    &mkp MCLK   &mkp RCLK     &trans      &trans      &trans  
//           ┗━━━━━━━━━━━┻━━━━━━━━━━━╋━━━━━━━━━━━╋━━━━━━━━━━━╋━━━━━━━━━━━╋━━━━━━━━━━━╋━━━━━━━━━━━┫   ┣━━━━━━━━━━━╋━━━━━━━━━━━╋━━━━━━━━━━━╋━━━━━━━━━━━╋━━━━━━━━━━━╋━━━━━━━━━━━┻━━━━━━━━━━━┛
//                                   ┃           ┃           ┃           ┃           ┃           ┃   ┃   BACK    ┃           ┃           ┃  FORWARD  ┃           ┃
                                         &trans      &trans      &trans      &trans      &trans        &mkp MB4      &trans      &trans     &mkp MB5     &trans 
//                                   ┗━━━━━━━━━━━┻━━━━━━━━━━━┻━━━━━━━━━━━┻━━━━━━━━━━━┻━━━━━━━━━━━┛   ┗━━━━━━━━━━━┻━━━━━━━━━━━┻━━━━━━━━━━━┻━━━━━━━━━━━┻━━━━━━━━━━━┛
            >;
        };

        gaming_layer {
            display-name = " Gaming";
            sensor-bindings =                                                                                                                             <&inc_dec_kp C_VOL_UP C_VOL_DN>;
            bindings = <
//           ┏━━━━━━━━━━━┳━━━━━━━━━━━┳━━━━━━━━━━━┳━━━━━━━━━━━┳━━━━━━━━━━━┳━━━━━━━━━━━┳━━━━━━━━━━━┓   ┏━━━━━━━━━━━┳━━━━━━━━━━━┳━━━━━━━━━━━┳━━━━━━━━━━━┳━━━━━━━━━━━┳━━━━━━━━━━━┳━━━━━━━━━━━┓ 
//           ┃           ┃           ┃           ┃           ┃           ┃           ┃           ┃   ┃           ┃           ┃           ┃           ┃           ┃           ┃    MOUSE  ┃
                 &trans      &trans      &trans      &trans      &trans      &trans      &trans          &trans      &trans      &trans      &trans      &trans      &trans     //SCROLL
//           ┣━━━━━━━━━━━╋━━━━━━━━━━━╋━━━━━━━━━━━╋━━━━━━━━━━━╋━━━━━━━━━━━╋━━━━━━━━━━━╋━━━━━━━━━━━┫   ┣━━━━━━━━━━━╋━━━━━━━━━━━╋━━━━━━━━━━━╋━━━━━━━━━━━╋━━━━━━━━━━━╋━━━━━━━━━━━╋━━━━━━━━━━━┫
//           ┃           ┃           ┃           ┃           ┃           ┃           ┃           ┃   ┃           ┃           ┃           ┃           ┃           ┃           ┃           ┃
                 &trans      &trans      &trans      &trans      &trans      &trans      &trans          &trans      &trans      &trans      &trans      &trans      &trans      &trans  
//           ┣━━━━━━━━━━━╋━━━━━━━━━━━╋━━━━━━━━━━━╋━━━━━━━━━━━╋━━━━━━━━━━━╋━━━━━━━━━━━╋━━━━━━━━━━━┫   ┣━━━━━━━━━━━╋━━━━━━━━━━━╋━━━━━━━━━━━╋━━━━━━━━━━━╋━━━━━━━━━━━╋━━━━━━━━━━━╋━━━━━━━━━━━┫
//           ┃           ┃           ┃    TAB    ┃     Q     ┃     2     ┃     E     ┃     R     ┃   ┃           ┃           ┃           ┃           ┃           ┃           ┃           ┃
                 &trans      &trans     &kp TAB      &kp Q      &kp N2       &kp E       &kp R           &trans      &trans      &trans      &trans      &trans      &trans      &trans  
//           ┣━━━━━━━━━━━╋━━━━━━━━━━━╋━━━━━━━━━━━╋━━━━━━━━━━━╋━━━━━━━━━━━╋━━━━━━━━━━━╋━━━━━━━━━━━┫   ┣━━━━━━━━━━━╋━━━━━━━━━━━╋━━━━━━━━━━━╋━━━━━━━━━━━╋━━━━━━━━━━━╋━━━━━━━━━━━╋━━━━━━━━━━━┫
//           ┃           ┃           ┃   SHIFT   ┃     A     ┃     W     ┃     D     ┃     F     ┃   ┃           ┃           ┃           ┃           ┃           ┃           ┃           ┃
                 &trans      &trans    &kp LSHFT     &kp A       &kp W       &kp D       &kp F           &trans      &trans      &trans      &trans      &trans      &trans      &trans  
//           ┣━━━━━━━━━━━╋━━━━━━━━━━━╋━━━━━━━━━━━╋━━━━━━━━━━━╋━━━━━━━━━━━╋━━━━━━━━━━━╋━━━━━━━━━━━┫   ┣━━━━━━━━━━━╋━━━━━━━━━━━╋━━━━━━━━━━━╋━━━━━━━━━━━╋━━━━━━━━━━━╋━━━━━━━━━━━╋━━━━━━━━━━━┫
//           ┃           ┃           ┃    CTRL   ┃     Z     ┃     S     ┃     C     ┃     V     ┃   ┃           ┃           ┃           ┃           ┃           ┃           ┃           ┃
                 &trans      &trans    &kp LCTRL     &kp Z       &kp S       &kp C       &kp V           &trans      &trans      &trans      &trans      &trans      &trans      &trans  
//           ┗━━━━━━━━━━━┻━━━━━━━━━━━╋━━━━━━━━━━━╋━━━━━━━━━━━╋━━━━━━━━━━━╋━━━━━━━━━━━╋━━━━━━━━━━━┫   ┣━━━━━━━━━━━╋━━━━━━━━━━━╋━━━━━━━━━━━╋━━━━━━━━━━━╋━━━━━━━━━━━╋━━━━━━━━━━━┻━━━━━━━━━━━┛
//                                   ┃           ┃           ┃           ┃           ┃           ┃   ┃           ┃           ┃           ┃           ┃           ┃
                                         &trans      &trans      &trans      &trans     &trans           T_HOME      &trans      &trans      &trans      &trans 
//                                   ┗━━━━━━━━━━━┻━━━━━━━━━━━┻━━━━━━━━━━━┻━━━━━━━━━━━┻━━━━━━━━━━━┛   ┗━━━━━━━━━━━┻━━━━━━━━━━━┻━━━━━━━━━━━┻━━━━━━━━━━━┻━━━━━━━━━━━┛
            >;
        };
    };
};

/{
    physical_layout0: physical_layout_0 {
        compatible = "zmk,physical-layout";
        display-name = "Default";

        kscan     = <&kscan0>;
        transform = <&default_transform>;

        keys  //                     w   h    x    y     rot    rx    ry
            = <&key_physical_attrs 100 100    0  160       0     0     0>
            , <&key_physical_attrs 100 100  100  160       0     0     0>
            , <&key_physical_attrs 100 100  200  160       0     0     0>
            , <&key_physical_attrs 100 100  310   60       0     0     0>
            , <&key_physical_attrs 100 100  420    0       0     0     0>
            , <&key_physical_attrs 100 100  530  100       0     0     0>
            , <&key_physical_attrs 100 100  630  100       0     0     0>
            , <&key_physical_attrs 100 100 1030  100       0     0     0>
            , <&key_physical_attrs 100 100 1130  100       0     0     0>
            , <&key_physical_attrs 100 100 1240    0       0     0     0>
            , <&key_physical_attrs 100 100 1350   60       0     0     0>
            , <&key_physical_attrs 100 100 1460  160       0     0     0>
            , <&key_physical_attrs 100 100 1560  160       0     0     0>
            , <&key_physical_attrs 100 100    0  280       0     0     0>
            , <&key_physical_attrs 100 100  100  280       0     0     0>
            , <&key_physical_attrs 100 100  200  280       0     0     0>
            , <&key_physical_attrs 100 100  310  180       0     0     0>
            , <&key_physical_attrs 100 100  420  120       0     0     0>
            , <&key_physical_attrs 100 100  530  220       0     0     0>
            , <&key_physical_attrs 100 100  630  220       0     0     0>
            , <&key_physical_attrs 100 100 1030  220       0     0     0>
            , <&key_physical_attrs 100 100 1130  220       0     0     0>
            , <&key_physical_attrs 100 100 1240  120       0     0     0>
            , <&key_physical_attrs 100 100 1350  180       0     0     0>
            , <&key_physical_attrs 100 100 1460  280       0     0     0>
            , <&key_physical_attrs 100 100 1560  280       0     0     0>
            , <&key_physical_attrs 100 100 1660  280       0     0     0>
            , <&key_physical_attrs 100 100    0  380       0     0     0>
            , <&key_physical_attrs 100 100  100  380       0     0     0>
            , <&key_physical_attrs 100 100  200  380       0     0     0>
            , <&key_physical_attrs 100 100  310  280       0     0     0>
            , <&key_physical_attrs 100 100  420  220       0     0     0>
            , <&key_physical_attrs 100 100  530  320       0     0     0>
            , <&key_physical_attrs 100 100  630  320       0     0     0>
            , <&key_physical_attrs 100 100 1030  320       0     0     0>
            , <&key_physical_attrs 100 100 1130  320       0     0     0>
            , <&key_physical_attrs 100 100 1240  220       0     0     0>
            , <&key_physical_attrs 100 100 1350  280       0     0     0>
            , <&key_physical_attrs 100 100 1460  380       0     0     0>
            , <&key_physical_attrs 100 100 1560  380       0     0     0>
            , <&key_physical_attrs 100 100 1660  380       0     0     0>
            , <&key_physical_attrs 100 100    0  480       0     0     0>
            , <&key_physical_attrs 100 100  100  480       0     0     0>
            , <&key_physical_attrs 100 100  200  480       0     0     0>
            , <&key_physical_attrs 100 100  310  380       0     0     0>
            , <&key_physical_attrs 100 100  420  320       0     0     0>
            , <&key_physical_attrs 100 100  530  420       0     0     0>
            , <&key_physical_attrs 100 100  630  420       0     0     0>
            , <&key_physical_attrs 100 100 1030  420       0     0     0>
            , <&key_physical_attrs 100 100 1130  420       0     0     0>
            , <&key_physical_attrs 100 100 1240  320       0     0     0>
            , <&key_physical_attrs 100 100 1350  380       0     0     0>
            , <&key_physical_attrs 100 100 1460  480       0     0     0>
            , <&key_physical_attrs 100 100 1560  480       0     0     0>
            , <&key_physical_attrs 100 100 1660  480       0     0     0>
            , <&key_physical_attrs 100 100    0  580       0     0     0>
            , <&key_physical_attrs 100 100  100  580       0     0     0>
            , <&key_physical_attrs 100 100  200  580       0     0     0>
            , <&key_physical_attrs 100 100  310  480       0     0     0>
            , <&key_physical_attrs 100 100  420  420       0     0     0>
            , <&key_physical_attrs 100 100  530  520       0     0     0>
            , <&key_physical_attrs 100 100  630  520       0     0     0>
            , <&key_physical_attrs 100 100 1030  520       0     0     0>
            , <&key_physical_attrs 100 100 1130  520       0     0     0>
            , <&key_physical_attrs 100 100 1240  420       0     0     0>
            , <&key_physical_attrs 100 100 1350  480       0     0     0>
            , <&key_physical_attrs 100 100 1460  580       0     0     0>
            , <&key_physical_attrs 100 100 1560  580       0     0     0>
            , <&key_physical_attrs 100 100 1660  580       0     0     0>
            , <&key_physical_attrs 100 100  630  700       0     0     0>
            , <&key_physical_attrs 100 100  725  744  (-800)   725   744>
            , <&key_physical_attrs 100 100  525  854  (-800)   525   854>
            , <&key_physical_attrs 100 100  630  800       0     0     0>
            , <&key_physical_attrs 100 100  735  835     800   735   835>
            , <&key_physical_attrs 100 100  925  850  (-800)   925   850>
            , <&key_physical_attrs 100 100 1030  800       0     0     0>
            , <&key_physical_attrs 100 100 1135  840     800  1135   840>
            , <&key_physical_attrs 100 100  935  730     800   935   730>
            , <&key_physical_attrs 100 100 1030  700       0     0     0>
            ;
    };
};

